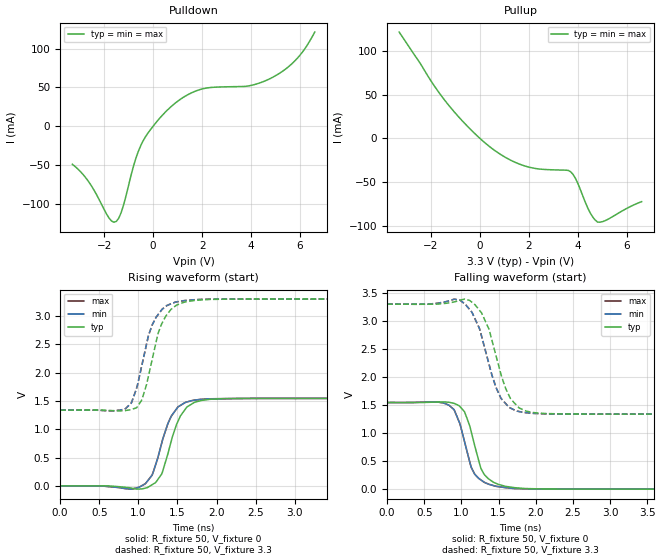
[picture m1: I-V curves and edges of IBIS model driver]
| IBIS file ex2_fast_5ps_probe.ibs created by PYS2IBIS3
| Missouri S&T EMC Lab
[IBIS Ver] 7.1
[File Name] ex2_fast_5ps_probe.ibs
[File Rev] 1.0
[Date] July 28, 2026
[Source] ex2 buffer.sp characterized with s2ibispy and HSPICE
[Notes] Observation pass for parameter selection.
[Disclaimer] Experimental characterization for pybis observability study.
[Component] MCM Driver 1
[Manufacturer] MegaFLOPS Inc.
[Package]
| variable   typ   min   max
R_pkg 0 NA NA
L_pkg 0H NA NA
C_pkg 0F NA NA
[Pin]  signal_name   model_name   R_pin   L_pin   C_pin
vdd   vdd   POWER
gnd   gnd   GND
| in in dummy
out   out   driver
| End of Component
| Models and submodels in the file (1): driver (Output)
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[Model] driver
Model_type Output
Polarity Non-Inverting
Enable Active-Low
Vinl  = 0.8V
Vinh  = 2V
C_comp 5.0000pF 5.0000pF 5.0000pF
[Temperature Range] 27.0000 27.0000 27.0000
[Voltage Range] 3.3000V 3.3000V 3.3000V
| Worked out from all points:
|   slope of the pulldown table from 0 to 0.495 V, typ, clamps not added: 27.4 ohm
|   slope of the pullup table from 0 to 0.495 V, typ, clamps not added: 42.7 ohm
|   rising waveform, R_fixture 50, V_fixture 0: 20-80 % time 217ps typ, 218ps min, 218ps max; typ from 0 V to 1.54 V
|   rising waveform, R_fixture 50, V_fixture 3.3: 20-80 % time 223ps typ, 221ps min, 221ps max; typ from 1.34 V to 3.3 V
|   falling waveform, R_fixture 50, V_fixture 0: 20-80 % time 204ps typ, 204ps min, 204ps max; typ from 1.54 V to 0 V
|   falling waveform, R_fixture 50, V_fixture 3.3: 20-80 % time 266ps typ, 266ps min, 266ps max; typ from 3.3 V to 1.34 V
[Pulldown]
| Voltage   I(typ)   I(min)   I(max)
-3.3V     -48.93mA   -48.93mA   -48.93mA
-2.6V     -72.86mA   -72.86mA   -72.86mA
-1.8V     -118.2mA   -118.2mA   -118.2mA
-1.5V     -122.5mA   -122.5mA   -122.5mA
-1.3V     -110.9mA   -110.9mA   -110.9mA
-500mV    -24.59mA   -24.59mA   -24.59mA
600mV     21.34mA    21.34mA    21.34mA
1.9V      47.12mA    47.12mA    47.12mA
3.9V      51.99mA    51.99mA    51.99mA
4.9V      63.38mA    63.38mA    63.38mA
5.9V      87.99mA    87.99mA    87.99mA
6.6V      121.3mA    121.3mA    121.3mA
[Pullup]
| Voltage   I(typ)   I(min)   I(max)
-3.3V     122mA      122mA      122mA
-1.9V     61.75mA    61.75mA    61.75mA
-1.3V     38.86mA    38.86mA    38.86mA
-200mV    5.278mA    5.278mA    5.278mA
700mV     -15.75mA   -15.75mA   -15.75mA
2V        -32.92mA   -32.92mA   -32.92mA
3.7V      -38.24mA   -38.24mA   -38.24mA
3.9V      -45.89mA   -45.89mA   -45.89mA
4.5V      -85.43mA   -85.43mA   -85.43mA
4.8V      -95.97mA   -95.97mA   -95.97mA
5.1V      -94.48mA   -94.48mA   -94.48mA
6.6V      -72.53mA   -72.53mA   -72.53mA
[Ramp]
| variable   typ   min   max
dV/dt_r 0.9270/0.2164n 0.9270/0.2172n 0.9270/0.2172n
dV/dt_f 1.1772/0.2657n 1.1772/0.2641n 1.1772/0.2641n
R_load = 50
[Rising Waveform]
R_fixture = 50
V_fixture = 0
|time   V(typ)   V(min)   V(max)
0s        7.302nV    7.302nV    7.302nV
920.9ps   -41.74mV   -56.25mV   -56.25mV
1.089ns   -39.99mV   37.94mV    37.94mV
1.177ns   21.24mV    192.6mV    192.6mV
1.217ns   55.2mV     356.5mV    356.5mV
1.305ns   231.1mV    795.4mV    795.4mV
1.425ns   819.4mV    1.24V      1.24V
1.538ns   1.233V     1.421V     1.421V
1.746ns   1.486V     1.52V      1.52V
8ns       1.545V     1.545V     1.545V
[Rising Waveform]
R_fixture = 50
V_fixture = 3.3
|time   V(typ)   V(min)   V(max)
0s        1.338V     1.338V     1.338V
824.8ps   1.327V     1.355V     1.355V
912.9ps   1.351V     1.472V     1.472V
977ps     1.379V     1.72V      1.72V
1.097ns   1.749V     2.457V     2.457V
1.217ns   2.481V     2.954V     2.954V
1.257ns   2.712V     3.034V     3.034V
1.353ns   3.003V     3.174V     3.174V
1.562ns   3.232V     3.268V     3.268V
8ns       3.3V       3.3V       3.3V
[Falling Waveform]
R_fixture = 50
V_fixture = 0
|time   V(typ)   V(min)   V(max)
0s        1.545V     1.545V     1.545V
760.8ps   1.557V     1.536V     1.536V
896.9ps   1.533V     1.424V     1.424V
969ps     1.49V      1.204V     1.204V
1.049ns   1.357V     806.2mV    806.2mV
1.129ns   1.04V      403.2mV    403.2mV
1.177ns   786mV      272.2mV    272.2mV
1.305ns   266mV      124.6mV    124.6mV
1.562ns   61.4mV     31.98mV    31.98mV
8ns       1.444uV    679.1nV    679.1nV
[Falling Waveform]
R_fixture = 50
V_fixture = 3.3
|time   V(typ)   V(min)   V(max)
0s        3.3V       3.3V       3.3V
904.9ps   3.339V     3.389V     3.389V
1.121ns   3.357V     3.189V     3.189V
1.249ns   3.182V     2.841V     2.841V
1.369ns   2.859V     2.24V      2.24V
1.53ns    2.063V     1.629V     1.629V
1.658ns   1.622V     1.448V     1.448V
1.826ns   1.419V     1.37V      1.37V
2.418ns   1.34V      1.339V     1.339V
8ns       1.338V     1.338V     1.338V
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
